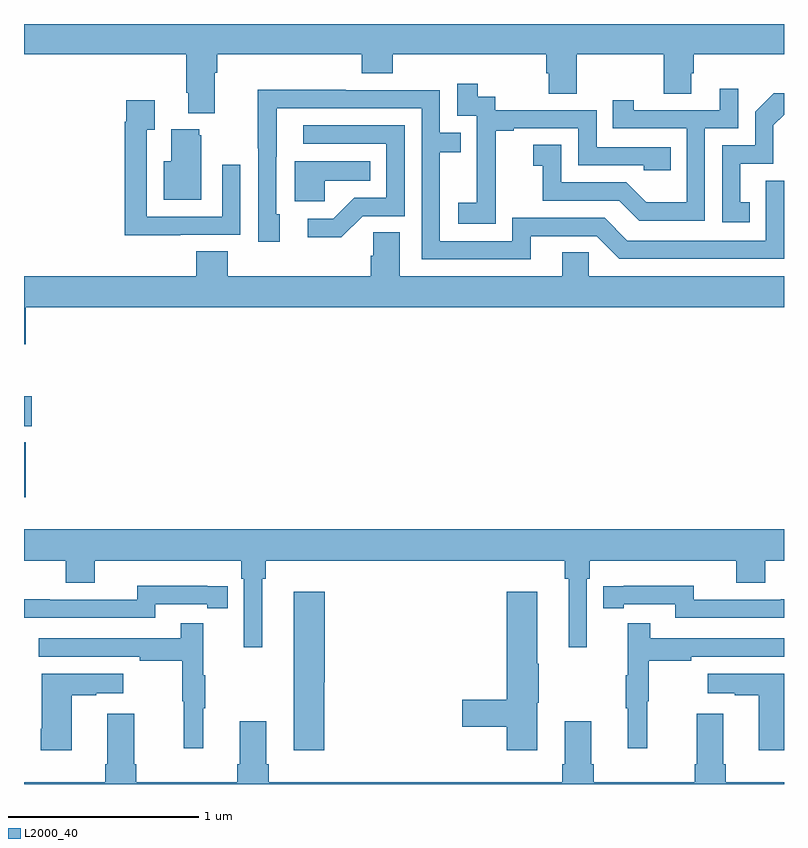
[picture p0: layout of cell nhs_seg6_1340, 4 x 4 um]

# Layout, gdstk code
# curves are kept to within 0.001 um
import gdstk
lib = gdstk.Library(unit=1e-6, precision=1e-09)
def R(c, l, rs):  # rectangles x0, y0, x1, y1
    for r in rs: c.add(gdstk.rectangle(r[:2], r[2:], *l))
def P(c, l, *ps):  # polygons
    for p in ps: c.add(gdstk.Polygon(p, *l))
L2000_40 = (2000, 40)

nhs_seg6_1340 = lib.new_cell('nhs_seg6_1340')
R(nhs_seg6_1340, L2000_40, [(193,941.01,193.01,941.299), (193,941.384,193.042,941.542)])
P(nhs_seg6_1340, L2000_40, [(194.005,943.244),(194.018,943.244),(194.018,943.34),(194.777,943.34),(194.777,943.241),(194.942,943.241),(194.942,943.34),(195.749,943.34),(195.749,943.242),(195.761,943.242),(195.761,943.132),(195.909,943.132),(195.909,943.34),(196.366,943.34),(196.366,943.132),(196.513,943.132),(196.513,943.242),(196.526,943.242),(196.526,943.34),(197,943.34),(197,943.5),(193,943.5),(193,943.34),(193.853,943.34),(193.853,943.138),(193.865,943.138),(193.865,943.031),(194.005,943.031)],
  [(195.483,942.655),(195.482,942.655),(195.482,942.939),(195.577,942.939),(195.577,942.951),(195.918,942.951),(195.918,942.756),(196.263,942.756),(196.263,942.729),(196.403,942.729),(196.403,942.852),(196.014,942.852),(196.014,943.047),(195.48,943.047),(195.48,943.116),(195.388,943.116),(195.388,943.186),(195.279,943.186),(195.279,943.017),(195.384,943.017),(195.384,942.788),(195.383,942.788),(195.383,942.559),(195.285,942.559),(195.285,942.449),(195.483,942.449)],
  [(196.584,942.951),(196.758,942.951),(196.758,943.159),(196.661,943.159),(196.661,943.047),(196.21,943.047),(196.21,943.099),(196.099,943.099),(196.099,942.951),(196.488,942.951),(196.488,942.562),(196.274,942.562),(196.17,942.666),(195.828,942.666),(195.828,942.865),(195.681,942.865),(195.681,942.755),(195.73,942.755),(195.73,942.57),(196.133,942.57),(196.238,942.465),(196.584,942.465)],
  [(195.667,942.384),(196.014,942.384),(196.134,942.264),(197,942.264),(197,942.675),(196.905,942.675),(196.905,942.36),(196.176,942.36),(196.056,942.48),(195.57,942.48),(195.57,942.357),(195.189,942.357),(195.189,942.826),(195.299,942.826),(195.299,942.927),(195.189,942.927),(195.189,943.152),(194.693,943.152),(194.693,943.154),(194.23,943.154),(194.23,942.847),(194.232,942.847),(194.232,942.354),(194.347,942.354),(194.347,942.498),(194.328,942.498),(194.329,943.056),(195.093,943.056),(195.093,942.261),(195.667,942.261)],
  [(196.82,942.561),(196.771,942.561),(196.771,942.765),(196.944,942.765),(196.944,942.966),(197,943.022),(197,943.136),(196.946,943.136),(196.848,943.038),(196.848,942.861),(196.674,942.861),(196.674,942.456),(196.82,942.456)],
  [(193.823,942.39),(194.139,942.39),(194.139,942.76),(194.043,942.76),(194.043,942.486),(193.647,942.486),(193.647,942.943),(193.687,942.943),(193.687,943.099),(193.539,943.099),(193.539,942.986),(193.531,942.986),(193.531,942.389),(193.823,942.389)],
  [(194.784,942.489),(195.003,942.489),(195.003,942.966),(194.469,942.966),(194.469,942.87),(194.907,942.87),(194.907,942.585),(194.738,942.585),(194.627,942.474),(194.493,942.474),(194.493,942.377),(194.671,942.377)],
  [(193.933,942.915),(193.922,942.915),(193.922,942.946),(193.775,942.946),(193.775,942.778),(193.736,942.778),(193.736,942.575),(193.933,942.575)],
  [(194.583,942.674),(194.822,942.674),(194.822,942.778),(194.426,942.778),(194.426,942.566),(194.583,942.566)],
  [(193.01,942.008),(197,942.008),(197,942.172),(195.972,942.172),(195.972,942.299),(195.833,942.299),(195.833,942.172),(194.977,942.172),(194.977,942.404),(194.838,942.404),(194.838,942.281),(194.825,942.281),(194.825,942.172),(194.072,942.172),(194.072,942.305),(193.907,942.305),(193.907,942.172),(193,942.172),(193,941.814),(193.01,941.814)],
  [(194.254,940.58),(194.273,940.58),(194.273,940.676),(195.847,940.676),(195.847,940.58),(195.866,940.58),(195.866,940.221),(195.963,940.221),(195.963,940.58),(195.977,940.58),(195.977,940.676),(196.748,940.676),(196.748,940.559),(196.901,940.559),(196.901,940.676),(197,940.676),(197,940.84),(193,940.84),(193,940.676),(193.22,940.676),(193.22,940.559),(193.372,940.559),(193.372,940.676),(194.144,940.676),(194.144,940.58),(194.157,940.58),(194.157,940.221),(194.254,940.221)],
  [(197,940.472),(196.984,940.472),(196.984,940.47),(196.524,940.47),(196.524,940.543),(196.156,940.543),(196.156,940.542),(196.048,940.542),(196.048,940.426),(196.156,940.426),(196.156,940.446),(196.428,940.446),(196.428,940.374),(197,940.374)],
  [(193.692,940.446),(193.964,940.446),(193.964,940.426),(194.072,940.426),(194.072,940.542),(193.964,940.542),(193.964,940.543),(193.596,940.543),(193.596,940.47),(193.136,940.47),(193.136,940.472),(193,940.472),(193,940.374),(193.692,940.374)],
  [(195.7,939.927),(195.708,939.927),(195.708,940.133),(195.7,940.133),(195.7,940.513),(195.542,940.513),(195.542,939.944),(195.306,939.944),(195.306,939.802),(195.542,939.802),(195.542,939.678),(195.7,939.678)],
  [(194.579,940.035),(194.584,940.035),(194.584,940.513),(194.42,940.513),(194.42,939.678),(194.579,939.678)],
  [(193.943,939.899),(193.954,939.899),(193.954,940.073),(193.943,940.073),(193.943,940.345),(193.825,940.345),(193.825,940.266),(193.077,940.266),(193.077,940.17),(193.609,940.17),(193.609,940.15),(193.833,940.15),(193.833,939.936),(193.84,939.936),(193.84,939.687),(193.943,939.687)],
  [(196.28,939.936),(196.288,939.936),(196.288,940.15),(196.511,940.15),(196.511,940.17),(197,940.17),(197,940.266),(196.295,940.266),(196.295,940.345),(196.178,940.345),(196.178,940.073),(196.167,940.073),(196.167,939.899),(196.178,939.899),(196.178,939.687),(196.28,939.687)],
  [(197,940.081),(196.599,940.081),(196.599,939.977),(196.742,939.977),(196.742,939.967),(196.868,939.967),(196.868,939.678),(197,939.678)],
  [(193.252,939.967),(193.379,939.967),(193.379,939.977),(193.522,939.977),(193.522,940.081),(193.094,940.081),(193.094,939.79),(193.087,939.79),(193.087,939.678),(193.252,939.678)],
  [(197,939.508),(196.694,939.508),(196.694,939.604),(196.681,939.604),(196.681,939.871),(196.541,939.871),(196.541,939.604),(196.529,939.604),(196.529,939.508),(195.998,939.508),(195.998,939.604),(195.985,939.604),(195.985,939.829),(195.845,939.829),(195.845,939.604),(195.833,939.604),(195.833,939.508),(194.288,939.508),(194.288,939.604),(194.275,939.604),(194.275,939.829),(194.135,939.829),(194.135,939.604),(194.123,939.604),(194.123,939.508),(193.592,939.508),(193.592,939.604),(193.579,939.604),(193.579,939.871),(193.439,939.871),(193.439,939.604),(193.427,939.604),(193.427,939.508),(193,939.508),(193,939.5),(197,939.5)])

lib.write_gds('nhs_seg6_1340.gds')
